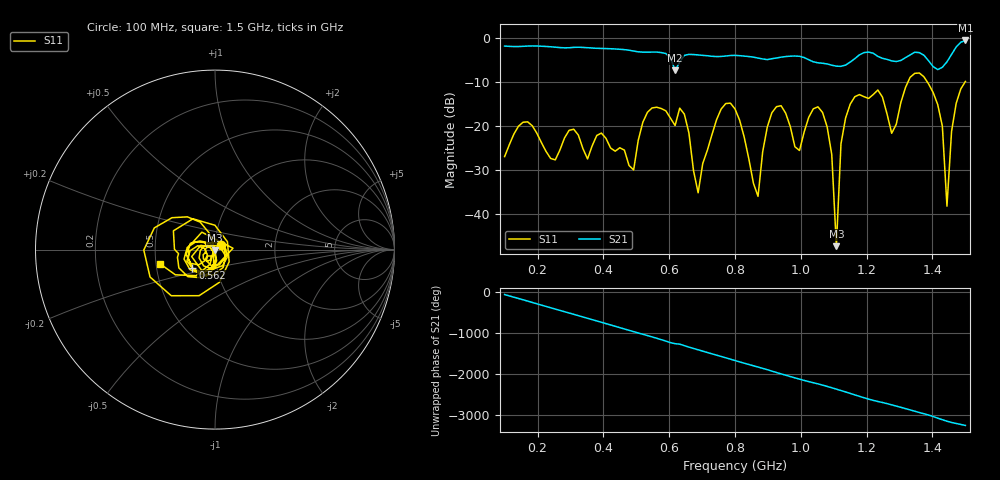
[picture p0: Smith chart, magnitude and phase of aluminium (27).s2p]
! NanoVNA-App
! Date: 2025-09-25 14:55:29
! Start: 100MHz Stop: 1,5GHz Points: 101
! S-Parameter data: F S11 S21 S12 S22
# Hz S RI R 50
!  Frequency  S11_Real  S11_Imag  S21_Real  S21_Imag  S12_Real  S12_Imag  S22_Real  S22_Imag
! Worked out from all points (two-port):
!   101 points, 100 MHz to 1.5 GHz, reference 50 ohm
!   highest |S21| = -0.65 dB at 1.5 GHz (marker M1); lowest = -7.4 dB at 618 MHz (marker M2)
!   |S21| within 3 dB of the highest: start of sweep to 590.5 MHz; 1.185 GHz to 1.222 GHz (36.68 MHz wide, 3.05 % of centre) (the widest 2 of 4)
!   lowest |S11| = -47.3 dB at 1.108 GHz (marker M3), VSWR 1.01, Z = 50 - j0.428 ohm
!   |S11| at or under -10 dB: start of sweep to 1.326 GHz; 1.384 GHz to 1.5 GHz (116 MHz wide, 8.05 % of centre)
!   S12 and S22 are empty: the file has one direction only
!   S11 on the Smith chart (normalised r, x): 100 MHz: 1.07, +0.06; 562 MHz: 0.76, -0.16; 1.5 GHz: 0.52, -0.09
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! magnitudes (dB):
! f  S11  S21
! 100 MHz  -27.0  -1.9
! 338 MHz  -25.2  -2.2
! 492 MHz  -30.0  -3.1
! 562 MHz  -15.8  -3.3
! 576 MHz  -16.1  -3.4
! 618 MHz  -19.9  -7.4
! 688 MHz  -35.2  -3.9
! 800 MHz  -16.2  -4.0
! 870 MHz  -36.0  -4.6
! 912 MHz  -17.0  -4.8
! 996 MHz  -25.6  -4.2
! 1.038 GHz  -16.2  -5.5
! 1.08 GHz  -20.3  -6.0
! 1.108 GHz  -47.3  -6.5
! 1.122 GHz  -24.1  -6.5
! 1.15 GHz  -15.1  -5.6
! 1.276 GHz  -21.7  -5.3
! 1.374 GHz  -8.9  -4.0
! 1.43 GHz  -20.1  -6.7
! 1.444 GHz  -38.3  -5.5
! 1.458 GHz  -21.3  -3.8
! 1.5 GHz  -10.0  -0.6
